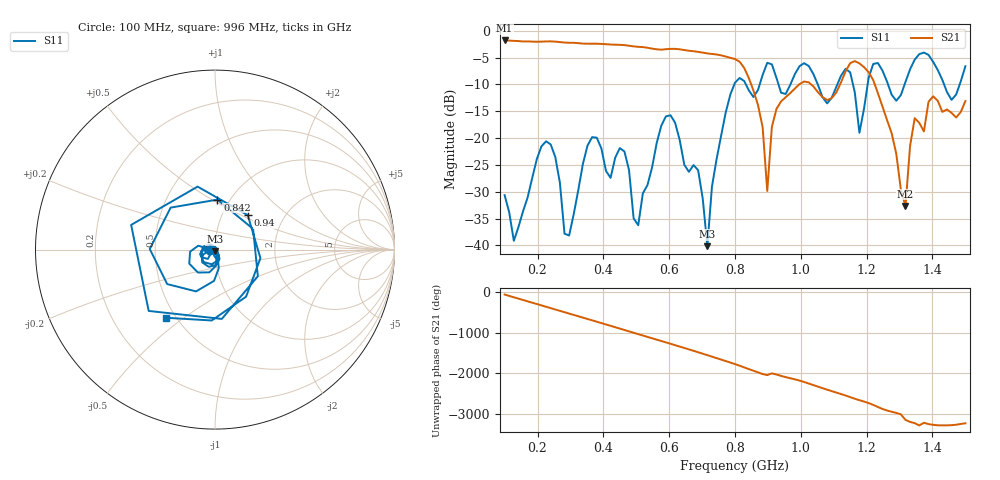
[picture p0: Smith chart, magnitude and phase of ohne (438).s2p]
! NanoVNA-App
! Date: 2025-09-25 14:24:12
! Start: 100MHz Stop: 1,5GHz Points: 101
! S-Parameter data: F S11 S21 S12 S22
# Hz S RI R 50
!  Frequency  S11_Real  S11_Imag  S21_Real  S21_Imag  S12_Real  S12_Imag  S22_Real  S22_Imag
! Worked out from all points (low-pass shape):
!   101 points, 100 MHz to 1.5 GHz, reference 50 ohm
!   highest |S21| = -1.79 dB at 100 MHz (marker M1); lowest = -32.7 dB at 1.318 GHz (marker M2)
!   |S21| within 3 dB of the highest: start of sweep to 771.7 MHz
!   lowest |S11| = -40.2 dB at 716 MHz (marker M3), VSWR 1.02, Z = 49.8 - j0.959 ohm
!   |S11| at or under -10 dB: start of sweep to 797.9 MHz; 833.2 MHz to 875.1 MHz (41.94 MHz wide, 4.91 % of centre); 1.052 GHz to 1.111 GHz (59.35 MHz wide, 5.49 % of centre) (the widest 3 of 7)
!   S12 and S22 are empty: the file has one direction only
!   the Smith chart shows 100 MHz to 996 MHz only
!   S11 on the Smith chart (normalised r, x): 100 MHz: 0.94, -0.01; 842 MHz: 0.88, +0.53; 940 MHz: 1.32, +0.54; 996 MHz: 0.44, -0.43
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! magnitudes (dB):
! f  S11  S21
! 100 MHz  -30.6  -1.8
! 128 MHz  -39.1  -1.9
! 226 MHz  -20.6  -2.0
! 296 MHz  -38.2  -2.2
! 338 MHz  -24.8  -2.4
! 464 MHz  -22.5  -2.7
! 506 MHz  -36.3  -3.0
! 576 MHz  -17.7  -3.5
! 688 MHz  -26.0  -3.9
! 716 MHz  -40.2  -4.2
! 800 MHz  -9.7  -5.3
! 842 MHz  -11.1  -8.8
! 898 MHz  -6.0  -29.9
! 940 MHz  -11.5  -13.2
! 996 MHz  -6.6  -9.9
! 1.038 GHz  -8.0  -10.3
! 1.178 GHz  -19.0  -6.1
! 1.22 GHz  -6.2  -9.2
! 1.276 GHz  -11.9  -19.1
! 1.318 GHz  -9.5  -32.7
! 1.346 GHz  -5.4  -16.3
! 1.5 GHz  -6.6  -13.1
